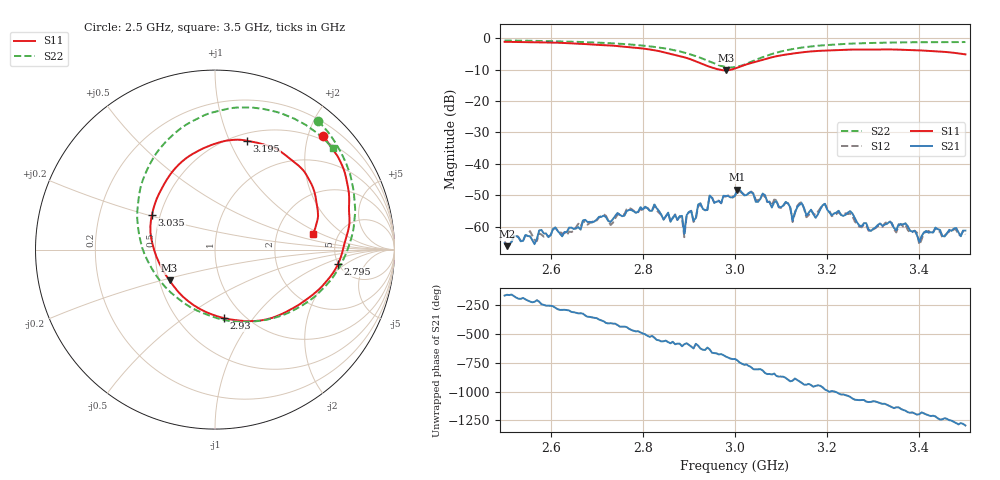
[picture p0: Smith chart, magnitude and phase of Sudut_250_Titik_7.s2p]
# Hz S RI R 50
! CMT, C1220, 16058040, 17.2.0/1
! Date: 15/08/2018 10:10:23
! Data: Format (Calibration Info)
! Freq  S11: Re/Im (F2)  S21: Re/Im (F2)  S12: Re/Im (F2)  S22: Re/Im (F2)
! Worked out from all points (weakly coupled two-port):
!   201 points, 2.5 GHz to 3.5 GHz, reference 50 ohm
!   highest |S21| = -48.18 dB at 3.005 GHz (marker M1); lowest = -66.2 dB at 2.505 GHz (marker M2)
!   lowest |S11| = -10.3 dB at 2.98 GHz (marker M3), VSWR 1.88, Z = 28.3 - j10.7 ohm
!   |S11| at or under -10 dB: 2.966 GHz to 2.992 GHz (25.88 MHz wide, 0.869 % of centre)
!   |S22| runs from -9.3 to -0.7 dB; largest |S21 - S12| = 0.00031
!   S11 on the Smith chart (normalised r, x): 2.5 GHz: 0.42, +2.25; 2.795 GHz: 5.01, -1.50; 2.93 GHz: 0.81, -0.73; 3.035 GHz: 0.45, +0.21; 3.195 GHz: 0.57, +1.16; 3.5 GHz: 3.25, +0.79
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2.5e9  0.6 0.6354  -0.000537 -0.000121  -0.000566 -0.000139  0.5732 0.7168
2.505e9  0.6062 0.6279  -0.000464 -0.000163  -0.000504 -0.000103  0.5789 0.7114
2.67e9  0.746 0.3149  0.00103 0.000736  0.00105 0.000598  0.7447 0.4428
2.795e9  0.6864 -0.0781  -0.00124 -0.00163  -0.00123 -0.00151  0.7633 0.0785
2.835e9  0.5815 -0.2196  -0.00172 0.000464  -0.00162 0.000391  0.7044 -0.0767
2.885e9  0.3448 -0.3705  -0.000584 0.00137  -0.000539 0.00126  0.5341 -0.2786
2.89e9  0.3174 -0.3805  -0.0005 0.00059  -0.00044 0.000524  0.5092 -0.2961
2.895e9  0.2881 -0.3887  -0.00116 0.001  -0.00116 0.000959  0.4818 -0.3136
2.93e9  0.05 -0.3817  0.000222 0.00192  0.000112 0.00196  0.2543 -0.3963
2.98e9  -0.2533 -0.172  0.00283 0.00125  0.00274 0.00129  -0.1412 -0.3183
3e9  -0.3271 -0.0372  0.00311 0.000162  0.00313 1.47e-05  -0.2762 -0.2093
3.005e9  -0.3389 -0.00308  0.00385 -0.00061  0.00365 -0.00068  -0.3053 -0.1751
3.035e9  -0.3515 0.1924  0.00133 -0.00333  0.00141 -0.00335  -0.4163 0.0529
3.115e9  -0.106 0.5434  -0.00235 -0.000145  -0.00236 -5.74e-05  -0.2939 0.5784
3.125e9  -0.0661 0.5638  -0.00125 0.000111  -0.00118 0.00015  -0.2551 0.6195
3.145e9  0.0109 0.5933  -0.00215 0.000973  -0.00217 0.00119  -0.1768 0.6854
3.17e9  0.0967 0.6109  -0.000866 0.00133  -0.00104 0.00125  -0.0776 0.7402
3.195e9  0.1765 0.6068  -0.000358 0.00229  -0.000242 0.0023  0.0158 0.7716
3.29e9  0.4145 0.5088  0.000889 -0.000159  0.000854 -0.000126  0.3071 0.776
3.335e9  0.4922 0.441  0.000855 -0.000837  0.000857 -0.000901  0.409 0.7434
3.4e9  0.5555 0.316  -0.000245 -0.000528  -0.000254 -0.000452  0.5262 0.6798
3.5e9  0.5451 0.0846  -0.00073 0.000475  -0.000606 0.000454  0.6571 0.5638
